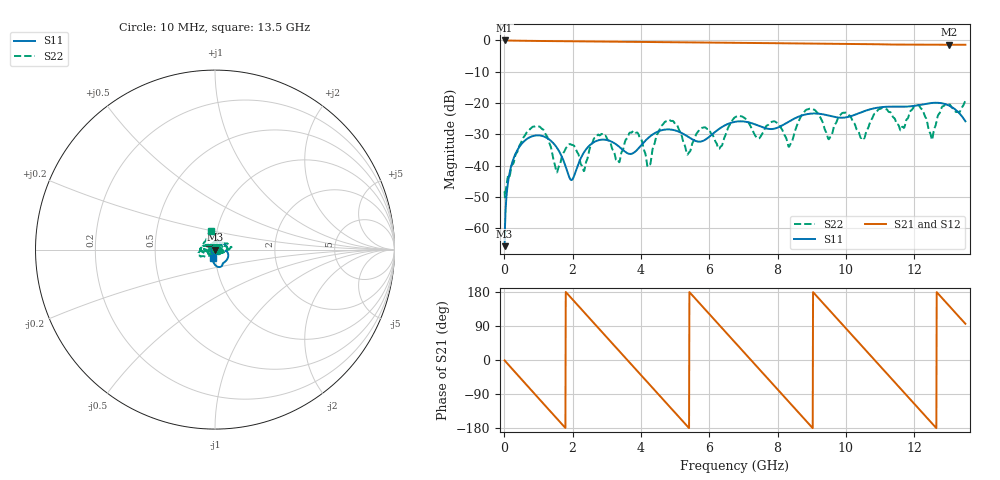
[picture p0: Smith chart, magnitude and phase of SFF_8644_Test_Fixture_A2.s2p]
!Keysight Technologies,N5231B,MY57181281,A.17.25.05
!Automatic Fixture Removal (AFR)
!Date: Friday, March 07, 2025, 04:12:55
!S2P File: Measurements: S11,S21,S12,S22:
# MHz S  RI  R 50
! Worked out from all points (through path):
!   1350 points, 10 MHz to 13.5 GHz, reference 50 ohm
!   highest |S21| = -0.01 dB at 10 MHz (marker M1); lowest = -1.4 dB at 13.03 GHz (marker M2)
!   group delay of S21, straight-line fit = 276 ps
!   lowest |S11| = -65.7 dB at 10 MHz (marker M3), VSWR 1.00, Z = 50 - j0.0519 ohm
!   |S11| at or under -10 dB: start of sweep to end of sweep
!   |S22| runs from -50.1 to -19.3 dB; largest |S21 - S12| = 1.4e-15
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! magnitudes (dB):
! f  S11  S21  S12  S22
! 10 MHz  -65.7  0.0  0.0  -48.2
! 180 MHz  -41.1  -0.1  -0.1  -42.2
! 580 MHz  -32.2  -0.1  -0.1  -30.7
! 1.1 GHz  -30.5  -0.2  -0.2  -28.2
! 1.55 GHz  -34.4  -0.2  -0.2  -42.0
! 1.96 GHz  -44.6  -0.3  -0.3  -33.3
! 2.26 GHz  -37.2  -0.3  -0.3  -39.8
! 3.34 GHz  -33.7  -0.4  -0.4  -38.4
! 3.79 GHz  -35.9  -0.5  -0.5  -28.8
! 4.23 GHz  -31.0  -0.5  -0.5  -39.9
! 4.51 GHz  -29.0  -0.6  -0.6  -29.4
! 6.31 GHz  -28.1  -0.7  -0.7  -34.3
! 6.76 GHz  -26.0  -0.8  -0.8  -24.5
! 8.35 GHz  -25.8  -0.9  -0.9  -33.7
! 9.01 GHz  -23.3  -1.0  -1.0  -21.9
! 9.52 GHz  -24.0  -1.0  -1.0  -31.3
! 11.26 GHz  -21.2  -1.3  -1.3  -22.8
! 11.64 GHz  -21.2  -1.3  -1.3  -27.8
! 12.13 GHz  -20.7  -1.4  -1.4  -20.6
! 12.51 GHz  -20.0  -1.4  -1.4  -31.5
! 13.03 GHz  -20.9  -1.4  -1.4  -20.4
! 13.5 GHz  -25.8  -1.4  -1.4  -19.3
